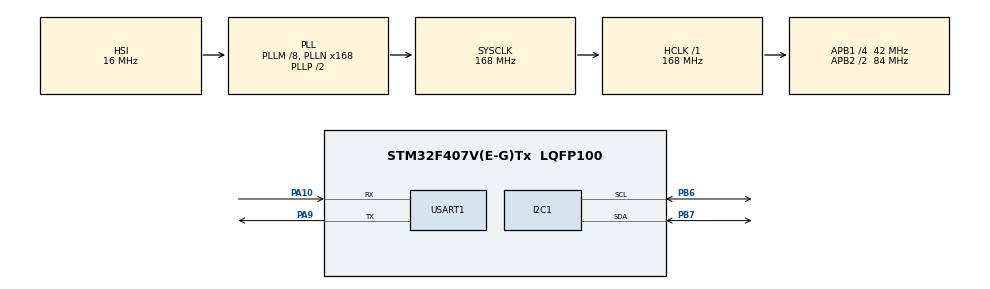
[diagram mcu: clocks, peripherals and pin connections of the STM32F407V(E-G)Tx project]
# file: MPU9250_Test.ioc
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I2C1.I2C_Mode=I2C_Fast
Mcu.Family=STM32F4
Mcu.Name=STM32F407V(E-G)Tx
Mcu.Package=LQFP100
NVIC.PriorityGroup=NVIC_PRIORITYGROUP_4
NVIC.USART1_IRQn=true\:0\:0\:false\:false\:true\:true\:true\:true
PA10.Mode=Asynchronous
PA10.Signal=USART1_RX
PA9.Mode=Asynchronous
PA9.Signal=USART1_TX
PB6.Mode=I2C
PB6.Signal=I2C1_SCL
PB7.Mode=I2C
PB7.Signal=I2C1_SDA
ProjectManager.HeapSize=0x200
ProjectManager.StackSize=0x400
ProjectManager.TargetToolchain=STM32CubeIDE
RCC.48MHZClocksFreq_Value=84000000
RCC.AHBFreq_Value=168000000
RCC.APB1CLKDivider=RCC_HCLK_DIV4
RCC.APB1Freq_Value=42000000
RCC.APB1TimFreq_Value=84000000
RCC.APB2CLKDivider=RCC_HCLK_DIV2
RCC.APB2Freq_Value=84000000
RCC.APB2TimFreq_Value=168000000
RCC.CortexFreq_Value=168000000
RCC.HCLKFreq_Value=168000000
RCC.HSE_VALUE=25000000
RCC.HSI_VALUE=16000000
RCC.LSE_VALUE=32768
RCC.PLLM=8
RCC.PLLN=168
RCC.SYSCLKFreq_VALUE=168000000
RCC.SYSCLKSource=RCC_SYSCLKSOURCE_PLLCLK
RCC.VCOOutputFreq_Value=336000000
USART1.VirtualMode=VM_ASYNC
board=custom

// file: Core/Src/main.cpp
/* USER CODE BEGIN Header */
/**
		******************************************************************************
		* @file           : main.c
		* @brief          : Main program body
		******************************************************************************
		* @attention
		*
		* Copyright (c) 2023 STMicroelectronics.
		* All rights reserved.
		*
		* This software is licensed under terms that can be found in the LICENSE file
		* in the root directory of this software component.
		* If no LICENSE file comes with this software, it is provided AS-IS.
		*
		******************************************************************************
		*/
/* USER CODE END Header */
#include "main.h"

/* USER CODE BEGIN Includes */

#include <stdio.h>
#include "MPU9250.h"

/* USER CODE END Includes */

I2C_HandleTypeDef hi2c1;

UART_HandleTypeDef huart1;

/* USER CODE BEGIN PV */

MPU9250 imu(hi2c1,false);

/* USER CODE END PV */

void SystemClock_Config(void);
static void MX_GPIO_Init(void);
static void MX_I2C1_Init(void);
static void MX_USART1_UART_Init(void);
/* USER CODE BEGIN PFP */

// __io_putchar function must be declare in C language to use
extern "C" {
	// This function is for using printf function
	int __io_putchar(int ch){
		(void)HAL_UART_Transmit(&huart1,(uint8_t*)&ch,1,100);
		return ch;
	}

}
/* USER CODE END PFP */

int main(void)
{

  /* MCU Configuration--------------------------------------------------------*/

  /* Reset of all peripherals, Initializes the Flash interface and the Systick. */
  HAL_Init();

  /* Configure the system clock */
  SystemClock_Config();

  /* Initialize all configured peripherals */
  MX_GPIO_Init();
  MX_I2C1_Init();
  MX_USART1_UART_Init();
  /* USER CODE BEGIN 2 */

  setvbuf(stdout, NULL, _IONBF, 0);
  imu.initialize();

  /* USER CODE END 2 */

  /* Infinite loop */
  /* USER CODE BEGIN WHILE */

  uint16_t prev = 0;

	while (1)
	{
    uint16_t current = imu.getRawGyrX();
		printf("Gyro X : %d\n",current - prev);

    prev = current;

		HAL_Delay(50);

    /* USER CODE END WHILE */

	}
}

void SystemClock_Config(void)
{
  RCC_OscInitTypeDef RCC_OscInitStruct = {0};
  RCC_ClkInitTypeDef RCC_ClkInitStruct = {0};

  /** Configure the main internal regulator output voltage
  */
  __HAL_RCC_PWR_CLK_ENABLE();
  __HAL_PWR_VOLTAGESCALING_CONFIG(PWR_REGULATOR_VOLTAGE_SCALE1);

  /** Initializes the RCC Oscillators according to the specified parameters
  * in the RCC_OscInitTypeDef structure.
  */
  RCC_OscInitStruct.OscillatorType = RCC_OSCILLATORTYPE_HSI;
  RCC_OscInitStruct.HSIState = RCC_HSI_ON;
  RCC_OscInitStruct.HSICalibrationValue = RCC_HSICALIBRATION_DEFAULT;
  RCC_OscInitStruct.PLL.PLLState = RCC_PLL_ON;
  RCC_OscInitStruct.PLL.PLLSource = RCC_PLLSOURCE_HSI;
  RCC_OscInitStruct.PLL.PLLM = 8;
  RCC_OscInitStruct.PLL.PLLN = 168;
  RCC_OscInitStruct.PLL.PLLP = RCC_PLLP_DIV2;
  RCC_OscInitStruct.PLL.PLLQ = 4;
  if (HAL_RCC_OscConfig(&RCC_OscInitStruct) != HAL_OK)
  {
    Error_Handler();
  }

  /** Initializes the CPU, AHB and APB buses clocks
  */
  RCC_ClkInitStruct.ClockType = RCC_CLOCKTYPE_HCLK|RCC_CLOCKTYPE_SYSCLK
                              |RCC_CLOCKTYPE_PCLK1|RCC_CLOCKTYPE_PCLK2;
  RCC_ClkInitStruct.SYSCLKSource = RCC_SYSCLKSOURCE_PLLCLK;
  RCC_ClkInitStruct.AHBCLKDivider = RCC_SYSCLK_DIV1;
  RCC_ClkInitStruct.APB1CLKDivider = RCC_HCLK_DIV4;
  RCC_ClkInitStruct.APB2CLKDivider = RCC_HCLK_DIV2;

  if (HAL_RCC_ClockConfig(&RCC_ClkInitStruct, FLASH_LATENCY_5) != HAL_OK)
  {
    Error_Handler();
  }
}

static void MX_I2C1_Init(void)
{

  hi2c1.Instance = I2C1;
  hi2c1.Init.ClockSpeed = 400000;
  hi2c1.Init.DutyCycle = I2C_DUTYCYCLE_2;
  hi2c1.Init.OwnAddress1 = 0;
  hi2c1.Init.AddressingMode = I2C_ADDRESSINGMODE_7BIT;
  hi2c1.Init.DualAddressMode = I2C_DUALADDRESS_DISABLE;
  hi2c1.Init.OwnAddress2 = 0;
  hi2c1.Init.GeneralCallMode = I2C_GENERALCALL_DISABLE;
  hi2c1.Init.NoStretchMode = I2C_NOSTRETCH_DISABLE;
  if (HAL_I2C_Init(&hi2c1) != HAL_OK)
  {
    Error_Handler();
  }

}

static void MX_USART1_UART_Init(void)
{

  huart1.Instance = USART1;
  huart1.Init.BaudRate = 115200;
  huart1.Init.WordLength = UART_WORDLENGTH_8B;
  huart1.Init.StopBits = UART_STOPBITS_1;
  huart1.Init.Parity = UART_PARITY_NONE;
  huart1.Init.Mode = UART_MODE_TX_RX;
  huart1.Init.HwFlowCtl = UART_HWCONTROL_NONE;
  huart1.Init.OverSampling = UART_OVERSAMPLING_16;
  if (HAL_UART_Init(&huart1) != HAL_OK)
  {
    Error_Handler();
  }
  /* USER CODE BEGIN USART1_Init 2 */
		__HAL_UART_ENABLE_IT(&huart1,UART_IT_RXNE);
  /* USER CODE END USART1_Init 2 */

}

static void MX_GPIO_Init(void)
{

  /* GPIO Ports Clock Enable */
  __HAL_RCC_GPIOA_CLK_ENABLE();
  __HAL_RCC_GPIOB_CLK_ENABLE();

}

void Error_Handler(void)
{
		__disable_irq();
		while (1)
		{
		}
}
